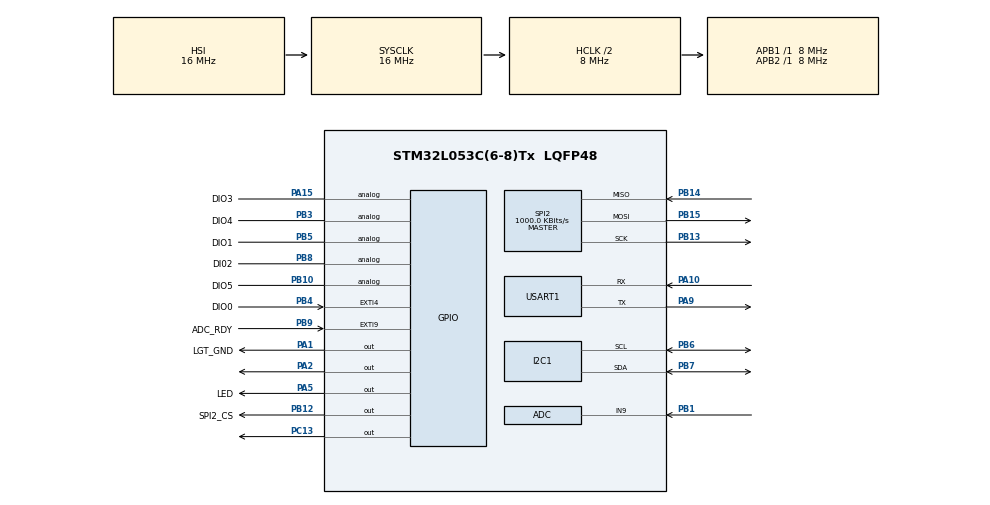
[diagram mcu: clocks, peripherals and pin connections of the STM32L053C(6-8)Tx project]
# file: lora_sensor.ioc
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ADC.ClockPrescaler=ADC_CLOCK_SYNC_PCLK_DIV2
ADC.ContinuousConvMode=ENABLE
ADC.DMAContinuousRequests=DISABLE
ADC.DataAlign=ADC_DATAALIGN_RIGHT
ADC.DiscontinuousConvMode=DISABLE
ADC.EOCSelection=ADC_EOC_SINGLE_CONV
ADC.EnableAnalogWatchDog=false
ADC.ExternalTrigConv=ADC_SOFTWARE_START
ADC.ExternalTrigConvEdge=ADC_EXTERNALTRIGCONVEDGE_NONE
ADC.LowPowerAutoPowerOff=DISABLE
ADC.LowPowerAutoWait=ENABLE
ADC.LowPowerFrequencyMode=DISABLE
ADC.Overrun=ADC_OVR_DATA_PRESERVED
ADC.OversamplingMode=DISABLE
ADC.Resolution=ADC_RESOLUTION_12B
ADC.SamplingTime=ADC_SAMPLETIME_160CYCLES_5
ADC.ScanConvMode=ADC_SCAN_DIRECTION_FORWARD
I2C1.Timing=0x2000090E
Mcu.Family=STM32L0
Mcu.Name=STM32L053C(6-8)Tx
Mcu.Package=LQFP48
NVIC.EXTI4_15_IRQn=true\:0\:0\:false\:true\:true\:2
NVIC.RTC_IRQn=true\:0\:0\:true\:true\:true\:1
PA1.GPIO_Label=LGT_GND
PA1.Signal=GPIO_Output
PA10.Mode=Asynchronous
PA10.Signal=USART1_RX
PA13.Mode=Serial_Wire
PA13.Signal=SYS_SWDIO
PA14.Mode=Serial_Wire
PA14.Signal=SYS_SWCLK
PA15.GPIO_Label=DIO3
PA15.Signal=GPIO_Analog
PA2.Signal=GPIO_Output
PA5.GPIO_Label=LED
PA5.Signal=GPIO_Output
PA9.Mode=Asynchronous
PA9.Signal=USART1_TX
PB1.Mode=IN9
PB1.Signal=ADC_IN9
PB10.GPIO_Label=DIO5
PB10.Signal=GPIO_Analog
PB12.GPIO_Label=SPI2_CS
PB12.Signal=GPIO_Output
PB13.Mode=Full_Duplex_Master
PB13.Signal=SPI2_SCK
PB14.Mode=Full_Duplex_Master
PB14.Signal=SPI2_MISO
PB15.Mode=Full_Duplex_Master
PB15.Signal=SPI2_MOSI
PB3.GPIO_Label=DIO4
PB3.Signal=GPIO_Analog
PB4.GPIO_Label=DIO0
PB4.Signal=GPXTI4
PB5.GPIO_Label=DIO1
PB5.Signal=GPIO_Analog
PB6.Mode=I2C
PB6.Signal=I2C1_SCL
PB7.Mode=I2C
PB7.Signal=I2C1_SDA
PB8.GPIO_Label=DI02
PB8.Signal=GPIO_Analog
PB9.GPIO_Label=ADC_RDY
PB9.Signal=GPXTI9
PC13.Signal=GPIO_Output
ProjectManager.HeapSize=0x200
ProjectManager.StackSize=0x400
ProjectManager.TargetToolchain=SW4STM32
RCC.AHBCLKDivider=RCC_SYSCLK_DIV2
RCC.AHBFreq_Value=8000000
RCC.APB1Freq_Value=8000000
RCC.APB1TimFreq_Value=8000000
RCC.APB2Freq_Value=8000000
RCC.APB2TimFreq_Value=8000000
RCC.HCLKFreq_Value=8000000
RCC.HSE_VALUE=8000000
RCC.HSI16_VALUE=16000000
RCC.HSI48_VALUE=48000000
RCC.HSI_VALUE=16000000
RCC.LSE_VALUE=32768
RCC.MSI_VALUE=2097000
RCC.SYSCLKFreq_VALUE=16000000
RCC.SYSCLKSource=RCC_SYSCLKSOURCE_HSI
RCC.VCOOutputFreq_Value=48000000
RTC.WakeUpClock-WakeUp=RTC_WAKEUPCLOCK_CK_SPRE_16BITS
SPI2.BaudRatePrescaler=SPI_BAUDRATEPRESCALER_8
SPI2.CLKPhase=SPI_PHASE_1EDGE
SPI2.CLKPolarity=SPI_POLARITY_LOW
SPI2.CalculateBaudRate=1000.0 KBits/s
SPI2.Direction=SPI_DIRECTION_2LINES
SPI2.Mode=SPI_MODE_MASTER
SPI2.VirtualType=VM_MASTER
USART1.VirtualMode-Asynchronous=VM_ASYNC
USART1.WordLength=WORDLENGTH_8B
VP_ADC_TempSens_Input.Mode=IN-TempSens
VP_RTC_VS_RTC_Activate.Mode=RTC_Enabled
VP_RTC_VS_RTC_Calendar.Mode=RTC_Calendar
VP_RTC_VS_RTC_WakeUp_intern.Mode=WakeUp
board=lora_sensor

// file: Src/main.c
/**
  ******************************************************************************
  * File Name          : main.c
  * Description        : Main program body
  ******************************************************************************
  ** This notice applies to any and all portions of this file
  * that are not between comment pairs USER CODE BEGIN and
  * USER CODE END. Other portions of this file, whether
  * inserted by the user or by software development tools
  * are owned by their respective copyright owners.
  *
  * COPYRIGHT(c) 2017 STMicroelectronics
  *
  * Redistribution and use in source and binary forms, with or without modification,
  * are permitted provided that the following conditions are met:
  *   1. Redistributions of source code must retain the above copyright notice,
  *      this list of conditions and the following disclaimer.
  *   2. Redistributions in binary form must reproduce the above copyright notice,
  *      this list of conditions and the following disclaimer in the documentation
  *      and/or other materials provided with the distribution.
  *   3. Neither the name of STMicroelectronics nor the names of its contributors
  *      may be used to endorse or promote products derived from this software
  *      without specific prior written permission.
  *
  * THIS SOFTWARE IS PROVIDED BY THE COPYRIGHT HOLDERS AND CONTRIBUTORS "AS IS"
  * AND ANY EXPRESS OR IMPLIED WARRANTIES, INCLUDING, BUT NOT LIMITED TO, THE
  * IMPLIED WARRANTIES OF MERCHANTABILITY AND FITNESS FOR A PARTICULAR PURPOSE ARE
  * DISCLAIMED. IN NO EVENT SHALL THE COPYRIGHT HOLDER OR CONTRIBUTORS BE LIABLE
  * FOR ANY DIRECT, INDIRECT, INCIDENTAL, SPECIAL, EXEMPLARY, OR CONSEQUENTIAL
  * DAMAGES (INCLUDING, BUT NOT LIMITED TO, PROCUREMENT OF SUBSTITUTE GOODS OR
  * SERVICES; LOSS OF USE, DATA, OR PROFITS; OR BUSINESS INTERRUPTION) HOWEVER
  * CAUSED AND ON ANY THEORY OF LIABILITY, WHETHER IN CONTRACT, STRICT LIABILITY,
  * OR TORT (INCLUDING NEGLIGENCE OR OTHERWISE) ARISING IN ANY WAY OUT OF THE USE
  * OF THIS SOFTWARE, EVEN IF ADVISED OF THE POSSIBILITY OF SUCH DAMAGE.
  *
  ******************************************************************************
  */
#include "main.h"
#include "stm32l0xx_hal.h"
#include "adc.h"
#include "i2c.h"
#include "rtc.h"
#include "spi.h"
#include "usart.h"
#include "gpio.h"

/* USER CODE BEGIN Includes */

#include "string.h"

#include "rfm95.h"
#include "payload_garden.h"
#include "ads1015.h"
#include "battery.h"
#include "temperature.h"
#include "light.h"

/* USER CODE END Includes */

/* USER CODE BEGIN PV */
/* Private variables ---------------------------------------------------------*/

/* USER CODE END PV */

void SystemClock_Config(void);
static void MX_NVIC_Init(void);

/* USER CODE BEGIN PFP */
/* Private function prototypes -----------------------------------------------*/

/* USER CODE END PFP */

/* USER CODE BEGIN 0 */

volatile uint8_t dio0_action = 0;
MAIN_StateTypeDef state;

/* USER CODE END 0 */

int main(void)
{

  /* MCU Configuration----------------------------------------------------------*/

  /* Reset of all peripherals, Initializes the Flash interface and the Systick. */
  HAL_Init();

  /* Configure the system clock */
  SystemClock_Config();

  /* Initialize all configured peripherals */
  MX_GPIO_Init();
  MX_ADC_Init();
  MX_I2C1_Init();
  MX_RTC_Init();
  MX_USART1_UART_Init();
  MX_SPI2_Init();

  /* Initialize interrupts */
  MX_NVIC_Init();

  /* USER CODE BEGIN 2 */

  HAL_ADCEx_Calibration_Start(&hadc, ADC_SINGLE_ENDED);

    /* Enable Ultra low power mode */
    HAL_PWREx_EnableUltraLowPower();
    __HAL_RCC_WAKEUPSTOP_CLK_CONFIG(RCC_STOP_WAKEUPCLOCK_HSI);

    /* Buffer used for transmission on USART1 */
    char tx1_buffer[120];

    RFM95_init(&hspi2);

    uint8_t payload_buff[14];
    PAYLOAD_Garden payload_garden;
    payload_garden.MessageType = 50;
    payload_garden.MessageId = 0;

    // Start in sensing mode.
    state = MAIN_STATE_SENSE;

  /* USER CODE END 2 */

  /* Infinite loop */
    while (1) {

  /* USER CODE BEGIN 3 */

        /* Do some work */
        if (state == MAIN_STATE_SENSE) {
            HAL_ADC_Start(&hadc);
            // junk readings
            payload_garden.Temperature = TEMPERATURE_external();
            payload_garden.CpuTemperature = TEMPERATURE_cpu();

            HAL_GPIO_WritePin(GPIOA, LED_Pin, GPIO_PIN_SET);

            payload_garden.MessageId++;
            payload_garden.VCC = BATTERY_vcc();
            payload_garden.ChargeMv = BATTERY_ChargeMv();
            payload_garden.ChargeMa = BATTERY_ChargeMa();

            /* Get the light reading while the adc gets ready */
            payload_garden.Light = LIGHT_lux();

            payload_garden.Temperature = TEMPERATURE_external();
            payload_garden.CpuTemperature = TEMPERATURE_cpu();
            HAL_ADC_Stop(&hadc);

            sprintf(tx1_buffer, "id:%d, vcc:%d, mv:%d, ma:%d, C:%d, cpuC:%d, lux:%d\n",
                    payload_garden.MessageId,
                    payload_garden.VCC,
                    payload_garden.ChargeMv,
                    payload_garden.ChargeMa,
                    payload_garden.Temperature,
                    payload_garden.CpuTemperature,
                    payload_garden.Light);
            HAL_UART_Transmit(&huart1, (uint8_t*) tx1_buffer, strlen(tx1_buffer), 1000);

            PAYLOAD_Garden_serialize(payload_garden, payload_buff);
            RFM95_send(&hspi2, payload_buff, 14);

            state = MAIN_STATE_TX;
        }

        /* Do nothing while the transmission is in progress */
        else if (state == MAIN_STATE_TX) {
            if (dio0_action == 1) {
                RFM95_setMode(&hspi2, RFM95_MODE_SLEEP);
                state = MAIN_STATE_SLEEP;
            }

            //TMP while interrupts are investigated
            //HAL_Delay(30);
            //state = MAIN_STATE_SLEEP;
        }

        /* Now that all the work is done, sleep until its time to do it all again */
        else if (state == MAIN_STATE_SLEEP) {
            HAL_GPIO_WritePin(GPIOA, LED_Pin, GPIO_PIN_RESET);

            //TMP while RFM is diabled
            //HAL_Delay(1000);

            /* Turn off the pin interrupts */
            HAL_NVIC_DisableIRQ(EXTI4_15_IRQn);

            HAL_SuspendTick();

            /* Enter Stop Mode */
            HAL_RTCEx_SetWakeUpTimer_IT(&hrtc, 60,
            RTC_WAKEUPCLOCK_CK_SPRE_16BITS);
            HAL_PWR_EnterSTOPMode(PWR_LOWPOWERREGULATOR_ON, PWR_STOPENTRY_WFI);
            HAL_RTCEx_DeactivateWakeUpTimer(&hrtc);
            HAL_ResumeTick();

            /* Turn on the pin interrupts */
            HAL_NVIC_EnableIRQ(EXTI4_15_IRQn);

            state = MAIN_STATE_SENSE;
        }

    }
  /* USER CODE END 3 */

}

/** System Clock Configuration
*/
void SystemClock_Config(void)
{

  RCC_OscInitTypeDef RCC_OscInitStruct;
  RCC_ClkInitTypeDef RCC_ClkInitStruct;
  RCC_PeriphCLKInitTypeDef PeriphClkInit;

    /**Configure the main internal regulator output voltage
    */
  __HAL_PWR_VOLTAGESCALING_CONFIG(PWR_REGULATOR_VOLTAGE_SCALE1);

    /**Initializes the CPU, AHB and APB busses clocks
    */
  RCC_OscInitStruct.OscillatorType = RCC_OSCILLATORTYPE_HSI|RCC_OSCILLATORTYPE_LSI;
  RCC_OscInitStruct.HSIState = RCC_HSI_ON;
  RCC_OscInitStruct.HSICalibrationValue = 16;
  RCC_OscInitStruct.LSIState = RCC_LSI_ON;
  RCC_OscInitStruct.PLL.PLLState = RCC_PLL_NONE;
  if (HAL_RCC_OscConfig(&RCC_OscInitStruct) != HAL_OK)
  {
    _Error_Handler(__FILE__, __LINE__);
  }

    /**Initializes the CPU, AHB and APB busses clocks
    */
  RCC_ClkInitStruct.ClockType = RCC_CLOCKTYPE_HCLK|RCC_CLOCKTYPE_SYSCLK
                              |RCC_CLOCKTYPE_PCLK1|RCC_CLOCKTYPE_PCLK2;
  RCC_ClkInitStruct.SYSCLKSource = RCC_SYSCLKSOURCE_HSI;
  RCC_ClkInitStruct.AHBCLKDivider = RCC_SYSCLK_DIV2;
  RCC_ClkInitStruct.APB1CLKDivider = RCC_HCLK_DIV1;
  RCC_ClkInitStruct.APB2CLKDivider = RCC_HCLK_DIV1;

  if (HAL_RCC_ClockConfig(&RCC_ClkInitStruct, FLASH_LATENCY_0) != HAL_OK)
  {
    _Error_Handler(__FILE__, __LINE__);
  }

  PeriphClkInit.PeriphClockSelection = RCC_PERIPHCLK_USART1|RCC_PERIPHCLK_I2C1
                              |RCC_PERIPHCLK_RTC;
  PeriphClkInit.Usart1ClockSelection = RCC_USART1CLKSOURCE_PCLK2;
  PeriphClkInit.I2c1ClockSelection = RCC_I2C1CLKSOURCE_PCLK1;
  PeriphClkInit.RTCClockSelection = RCC_RTCCLKSOURCE_LSI;
  if (HAL_RCCEx_PeriphCLKConfig(&PeriphClkInit) != HAL_OK)
  {
    _Error_Handler(__FILE__, __LINE__);
  }

    /**Configure the Systick interrupt time
    */
  HAL_SYSTICK_Config(HAL_RCC_GetHCLKFreq()/1000);

    /**Configure the Systick
    */
  HAL_SYSTICK_CLKSourceConfig(SYSTICK_CLKSOURCE_HCLK);

  /* SysTick_IRQn interrupt configuration */
  HAL_NVIC_SetPriority(SysTick_IRQn, 0, 0);
}

/** NVIC Configuration
*/
static void MX_NVIC_Init(void)
{
  /* RTC_IRQn interrupt configuration */
  HAL_NVIC_SetPriority(RTC_IRQn, 0, 0);
  HAL_NVIC_EnableIRQ(RTC_IRQn);
  /* EXTI4_15_IRQn interrupt configuration */
  HAL_NVIC_SetPriority(EXTI4_15_IRQn, 0, 0);
  HAL_NVIC_EnableIRQ(EXTI4_15_IRQn);
}

/* USER CODE BEGIN 4 */

/**
 * Callback for RTC_IRQHandler()
 */
void HAL_RTCEx_WakeUpTimerEventCallback(RTC_HandleTypeDef *hrtc) {
    // Wake up
}

/**
 * Callback for HAL_GPIO_EXTI_IRQHandler() in EXTI4_15_IRQHandler().
 *
 * Handles the interrupts which occur on button press.
 */
void HAL_GPIO_EXTI_Callback(uint16_t GPIO_Pin) {
    if (GPIO_Pin == DIO0_Pin) {
        dio0_action = 1;
    }
}

/* USER CODE END 4 */

void _Error_Handler(char * file, int line)
{
  /* USER CODE BEGIN Error_Handler_Debug */
    /* User can add his own implementation to report the HAL error return state */
    char buffer[80];
    sprintf(buffer, "Error: %d\n", line);
    HAL_UART_Transmit(&huart1, (uint8_t*) buffer, strlen(buffer), 5000);
    while (1) {
        HAL_GPIO_TogglePin(GPIOA, LED_Pin);
        HAL_Delay(100);
    }
  /* USER CODE END Error_Handler_Debug */
}

/************************ (C) COPYRIGHT STMicroelectronics *****END OF FILE****/
